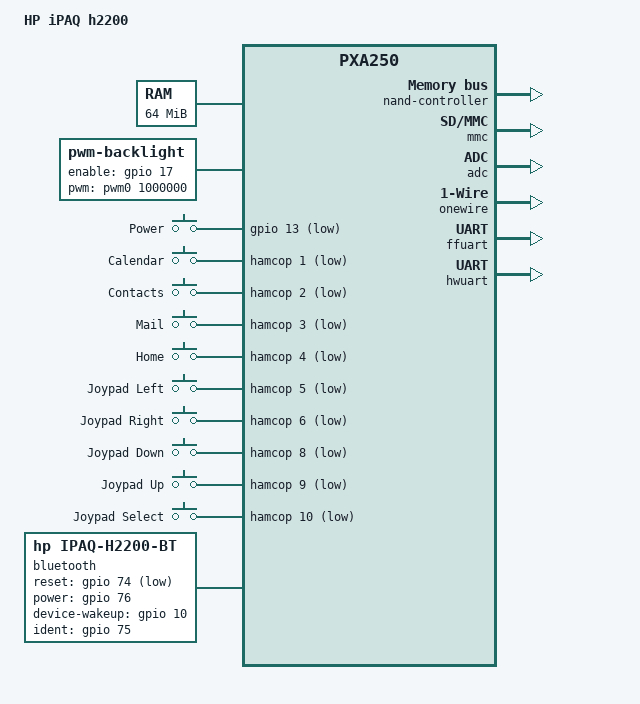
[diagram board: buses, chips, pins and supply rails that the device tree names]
// SPDX-License-Identifier: GPL-2.0-only
/*
 * Device tree for the HP iPAQ h2200 handheld (h2210/h2212/h2215 are the
 * same target).
 *
 * Every pad is configured by the pxa2xx_mfp_config() table in
 * arch/arm/mach-pxa/h2200.c, applied from an of_machine_is_compatible()
 * gated initcall because the generic PXA25x DT machine has no per-board
 * hook. HAMCOP and the buttons and joypad it hosts are described below;
 * the NAND, SD, ADC/touchscreen, LED and 1-Wire cells are its child nodes,
 * and their register windows and clocks come from the HAMCOP MFD driver.
 *
 * Copyright (C) 2026 Koen Kooi
 */

/dts-v1/;

#include <dt-bindings/gpio/gpio.h>
#include <dt-bindings/input/input.h>
#include <dt-bindings/interrupt-controller/irq.h>
#include <dt-bindings/leds/common.h>
#include "pxa25x.dtsi"

/ {
	model = "HP iPAQ h2200";
	compatible = "hp,ipaq-h2200", "marvell,pxa250";

	chosen {
		stdout-path = &ffuart;
	};

	memory@a0000000 {
		device_type = "memory";
		reg = <0xa0000000 0x04000000>; /* 64 MiB */
	};

	/*
	 * MediaQ 1178 panel backlight. GPIO16 (PWM0 output) drives
	 * brightness via duty cycle; GPIO17 is the digital enable for the
	 * backlight power transistor, active-high. Both pins are still muxed
	 * by h2200.c's pxa2xx_mfp_config() table rather than by a &pinctrl
	 * state, although drivers/pinctrl/pxa/pinctrl-pxa25x.c does describe
	 * the "PWM0" function on GPIO16.
	 *
	 * brightness-levels/num-interpolated-steps give a linear 0-1023
	 * duty-cycle range with full brightness as the default, rather than
	 * the driver's default CIE1931-corrected table.
	 */
	backlight: backlight {
		compatible = "pwm-backlight";
		pwms = <&pwm0 1000000>; /* 1 kHz */
		enable-gpios = <&gpio 17 GPIO_ACTIVE_HIGH>;

		brightness-levels = <0 1023>;
		num-interpolated-steps = <1023>;
		default-brightness-level = <1023>;
	};

	/*
	 * CompactFlash socket. The shared PXA PCMCIA driver is matched by
	 * name and needs board callbacks that no property can express, so
	 * the board code registers the platform device and merely looks this
	 * node up to resolve the GPIOs, hence disabled. Detect and add-en
	 * are active low, as their _N hardware pin names say.
	 */
	pcmcia {
		compatible = "hp,ipaq-h2200-pcmcia";
		status = "disabled";

		detect-gpios = <&gpio 9 GPIO_ACTIVE_LOW>;
		ready-gpios = <&gpio 7 GPIO_ACTIVE_HIGH>;
		reset-gpios = <&gpio 23 GPIO_ACTIVE_HIGH>;
		power-gpios = <&gpio 26 GPIO_ACTIVE_HIGH>;
		add-en-gpios = <&gpio 25 GPIO_ACTIVE_LOW>;
		buff-en-gpios = <&gpio 63 GPIO_ACTIVE_HIGH>;
	};

	/*
	 * HAMCOP sits on CS0 (physical address 0) but is wired to the SoC's
	 * nCS_2 signal, muxed by h2200.c. The first reg entry is the register
	 * window, starting 0x4000 bytes into the chip; the second is the
	 * 16 KiB on-chip SRAM at chip offset 0, which this board's CPU
	 * resets into.
	 *
	 * ASIC_INT_N is PXA GPIO5, falling-edge.
	 */
	hamcop: companion-chip@4000 {
		compatible = "samsung,hamcop";
		reg = <0x00004000 0x000fc000>,
		      <0x00000000 0x00004000>;

		interrupt-parent = <&gpio>;
		interrupts = <5 IRQ_TYPE_EDGE_FALLING>;

		interrupt-controller;
		#interrupt-cells = <2>;

		gpio-controller;
		#gpio-cells = <2>;

		nand-controller {
			compatible = "samsung,hamcop-nand";
		};

		mmc {
			compatible = "samsung,hamcop-sdi";
		};

		led-controller {
			compatible = "samsung,hamcop-leds";
			#address-cells = <1>;
			#size-cells = <0>;

			/*
			 * The amber LED also shows the charge state in hardware
			 * and blinks by itself in the cradle, so a blinking
			 * trigger on it could not be told apart from that.
			 */
			led@0 {
				reg = <0>;
				color = <LED_COLOR_ID_AMBER>;
				function = LED_FUNCTION_POWER;
				linux,default-trigger = "default-on";
			};

			led@1 {
				reg = <1>;
				color = <LED_COLOR_ID_GREEN>;
				function = LED_FUNCTION_INDICATOR;
				linux,default-trigger = "disk-activity";
			};

			led@2 {
				reg = <2>;
				color = <LED_COLOR_ID_BLUE>;
				function = LED_FUNCTION_BLUETOOTH;
				linux,default-trigger = "heartbeat";
			};
		};

		/*
		 * The io-channel cell is an index into the driver's channel
		 * array: x=0, y=1, z1=2, z2=3, ain0=4, ain1=5, ain2=6.
		 */
		adc: adc {
			compatible = "samsung,hamcop-adc";
			#io-channel-cells = <1>;
		};

		/*
		 * The channel order matters: x, y, z1, z2 must match
		 * the packed sample layout the ADC driver pushes. The ADC is
		 * 10-bit, hence the 1024 ranges.
		 */
		touchscreen {
			compatible = "resistive-adc-touch";
			io-channels = <&adc 0>, <&adc 1>, <&adc 2>, <&adc 3>;
			io-channel-names = "x", "y", "z1", "z2";
			touchscreen-x-plate-ohms = <400>;
			touchscreen-size-x = <1024>;
			touchscreen-size-y = <1024>;
		};

		/*
		 * The properties restate the values compiled into the MFD driver's
		 * platform data for this cell. The register file of HAMCOP's 1-Wire
		 * master is 4-byte strided, hence a bus shift of 2. The interrupt
		 * polarity is left at the DS1WM power-on default, as HAMCOP exposes
		 * no trigger type register to check it against.
		 */
		onewire {
			compatible = "samsung,hamcop-onewire", "dallas,ds1wm";
			dallas,bus-shift = <2>;
			dallas,reset-recover-delay-ms = <1>;
		};
	};

	/*
	 * Buttons and joypad, all active low. All but the power key are on
	 * HAMCOP's GPIO A/B banks. GPIO 7 is the battery fault input, not a
	 * button, hence the gap. The power button is the board's one wakeup
	 * source.
	 */
	gpio-keys {
		compatible = "gpio-keys";

		/*
		 * The power switch is also wired to PXA GPIO13. The HAMCOP
		 * RSTBUTTON source (offset 0) for the same switch never raises an
		 * interrupt on real hardware while the other HAMCOP buttons do,
		 * so use the PXA GPIO.
		 */
		key-power {
			label = "Power";
			linux,code = <KEY_POWER>;
			gpios = <&gpio 13 GPIO_ACTIVE_LOW>;
			wakeup-source;
		};

		key-calendar {
			label = "Calendar";
			linux,code = <KEY_CALENDAR>;
			gpios = <&hamcop 1 GPIO_ACTIVE_LOW>;
		};

		key-contacts {
			label = "Contacts";
			linux,code = <KEY_ADDRESSBOOK>;
			gpios = <&hamcop 2 GPIO_ACTIVE_LOW>;
		};

		key-mail {
			label = "Mail";
			linux,code = <KEY_MAIL>;
			gpios = <&hamcop 3 GPIO_ACTIVE_LOW>;
		};

		key-home {
			label = "Home";
			linux,code = <KEY_HOMEPAGE>;
			gpios = <&hamcop 4 GPIO_ACTIVE_LOW>;
		};

		key-joypad-left {
			label = "Joypad Left";
			linux,code = <KEY_LEFT>;
			gpios = <&hamcop 5 GPIO_ACTIVE_LOW>;
		};

		key-joypad-right {
			label = "Joypad Right";
			linux,code = <KEY_RIGHT>;
			gpios = <&hamcop 6 GPIO_ACTIVE_LOW>;
		};

		key-joypad-down {
			label = "Joypad Down";
			linux,code = <KEY_DOWN>;
			gpios = <&hamcop 8 GPIO_ACTIVE_LOW>;
		};

		key-joypad-up {
			label = "Joypad Up";
			linux,code = <KEY_UP>;
			gpios = <&hamcop 9 GPIO_ACTIVE_LOW>;
		};

		key-joypad-select {
			label = "Joypad Select";
			linux,code = <KEY_ENTER>;
			gpios = <&hamcop 10 GPIO_ACTIVE_LOW>;
		};
	};

	/*
	 * Zeevo Bluetooth module power control; its HCI UART is &hwuart below.
	 * BT_RESET_N (GPIO74) is the module's active-low reset, BT_POWER_ON
	 * (GPIO76) and BT_WAKE (GPIO10) are plain active-high lines, and
	 * BT_IDENT (GPIO75) reads high when the Zeevo module is fitted.
	 */
	bluetooth {
		compatible = "hp,ipaq-h2200-bt";
		reset-gpios = <&gpio 74 GPIO_ACTIVE_LOW>;
		power-gpios = <&gpio 76 GPIO_ACTIVE_HIGH>;
		device-wakeup-gpios = <&gpio 10 GPIO_ACTIVE_HIGH>;
		ident-gpios = <&gpio 75 GPIO_ACTIVE_HIGH>;
	};
};

&ffuart {
	status = "okay";
};

/*
 * Onboard Zeevo Bluetooth chip, HCI transport over HWUART rather than
 * BTUART (see the comment on GPIO42-45 in h2200_pin_config[] in
 * arch/arm/mach-pxa/h2200.c). Power sequencing is the root-level
 * "bluetooth" node's, handled separately by the h2200_bt rfkill driver.
 */
&hwuart {
	status = "okay";
};
